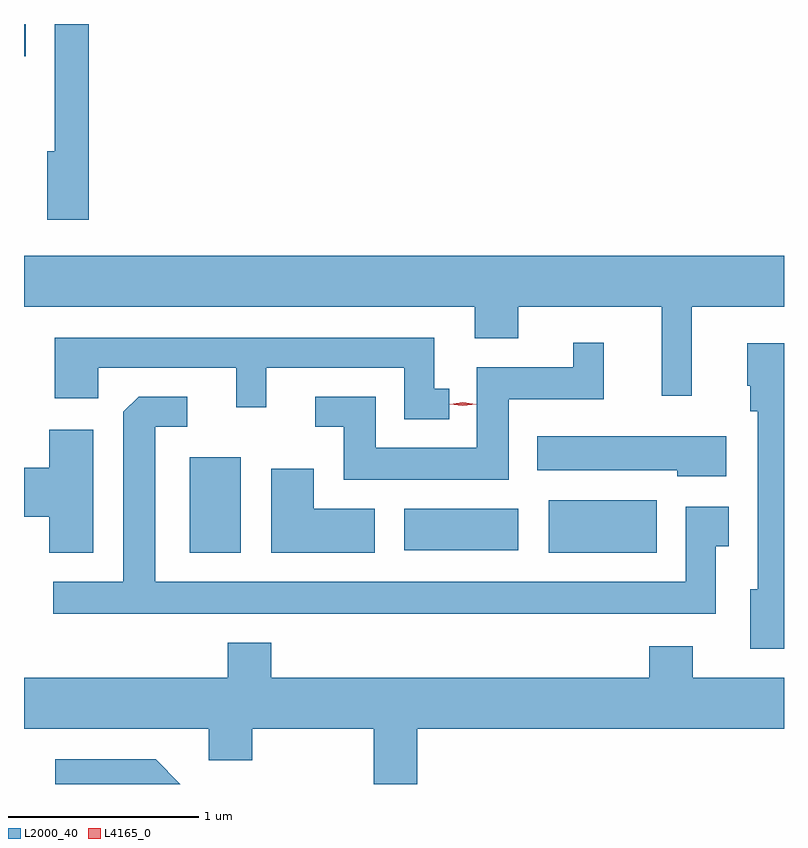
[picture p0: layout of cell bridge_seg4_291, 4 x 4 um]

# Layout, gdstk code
import gdstk
lib = gdstk.Library(unit=1e-6, precision=1e-09)
def R(c, l, rs):  # rectangles x0, y0, x1, y1
    for r in rs: c.add(gdstk.rectangle(r[:2], r[2:], *l))
def P(c, l, *ps):  # polygons
    for p in ps: c.add(gdstk.Polygon(p, *l))
L2000_40 = (2000, 40)
L4165_0 = (4165, 0)

bridge_seg4_291 = lib.new_cell('bridge_seg4_291')
R(bridge_seg4_291, L2000_40, [(524.611,1273.461,524.879,1273.964), (526.501,1273.461,527.069,1273.739), (525.741,1273.476,526.339,1273.694), (523.739,1276.076,523.749,1276.245)])
P(bridge_seg4_291, L2000_40, [(524.079,1276.245),(523.901,1276.245),(523.901,1275.574),(523.861,1275.574),(523.861,1275.216),(524.079,1275.216)],
  [(527.254,1274.756),(527.739,1274.756),(527.739,1275.024),(523.739,1275.024),(523.739,1274.756),(526.111,1274.756),(526.111,1274.591),(526.339,1274.591),(526.339,1274.756),(527.096,1274.756),(527.096,1274.288),(527.254,1274.288)],
  [(525.978,1274.324),(525.899,1274.324),(525.899,1274.594),(523.901,1274.594),(523.901,1274.276),(524.129,1274.276),(524.129,1274.436),(524.856,1274.436),(524.856,1274.228),(525.014,1274.228),(525.014,1274.436),(525.741,1274.436),(525.741,1274.166),(525.978,1274.166)],
  [(526.289,1274.271),(526.789,1274.271),(526.789,1274.568),(526.631,1274.568),(526.631,1274.439),(526.121,1274.439),(526.121,1274.014),(525.589,1274.014),(525.589,1274.284),(525.273,1274.284),(525.273,1274.126),(525.421,1274.126),(525.421,1273.846),(526.289,1273.846)],
  [(527.739,1274.564),(527.546,1274.564),(527.546,1274.34),(527.561,1274.34),(527.561,1274.206),(527.601,1274.206),(527.601,1273.269),(527.561,1273.269),(527.561,1272.956),(527.739,1272.956)],
  [(527.379,1273.496),(527.449,1273.496),(527.449,1273.704),(527.221,1273.704),(527.221,1273.309),(524.429,1273.309),(524.429,1274.126),(524.598,1274.126),(524.598,1274.284),(524.342,1274.284),(524.261,1274.204),(524.261,1273.309),(523.893,1273.309),(523.893,1273.141),(527.379,1273.141)],
  [(524.104,1274.109),(523.871,1274.109),(523.871,1273.909),(523.739,1273.909),(523.739,1273.651),(523.871,1273.651),(523.871,1273.461),(524.104,1273.461)],
  [(527.434,1274.074),(526.441,1274.074),(526.441,1273.896),(527.176,1273.896),(527.176,1273.866),(527.434,1273.866)],
  [(525.584,1273.694),(525.264,1273.694),(525.264,1273.904),(525.041,1273.904),(525.041,1273.461),(525.584,1273.461)],
  [(525.809,1272.536),(527.739,1272.536),(527.739,1272.804),(527.259,1272.804),(527.259,1272.969),(527.031,1272.969),(527.031,1272.804),(525.039,1272.804),(525.039,1272.989),(524.811,1272.989),(524.811,1272.804),(523.739,1272.804),(523.739,1272.536),(524.711,1272.536),(524.711,1272.371),(524.939,1272.371),(524.939,1272.536),(525.581,1272.536),(525.581,1272.245),(525.809,1272.245)],
  [(524.432,1272.374),(523.903,1272.374),(523.903,1272.245),(524.561,1272.245)])
P(bridge_seg4_291, L4165_0, [(526.048,1274.235),(525.979,1274.244),(525.979,1274.245),(525.979,1274.245),(526.048,1274.255),(526.118,1274.245),(526.118,1274.244),(526.118,1274.244)])

lib.write_gds('bridge_seg4_291.gds')
